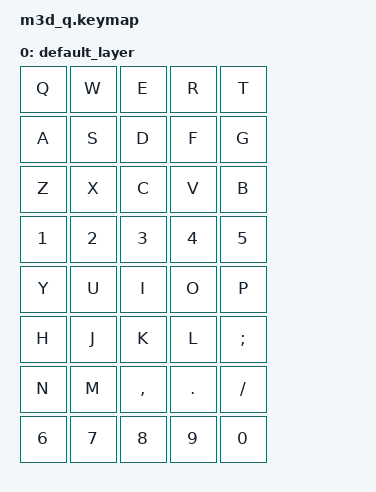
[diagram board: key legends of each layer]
#include <dt-bindings/zmk/keys.h>
#include <behaviors.dtsi>

/ {
    keymap {
        compatible = "zmk,keymap";

        default_layer {
            bindings = <
                &kp Q &kp W &kp E &kp R &kp T
                &kp A &kp S &kp D &kp F &kp G
                &kp Z &kp X &kp C &kp V &kp B
                &kp N1 &kp N2 &kp N3 &kp N4 &kp N5
                &kp Y &kp U &kp I &kp O &kp P
                &kp H &kp J &kp K &kp L &kp SEMI
                &kp N &kp M &kp COMMA &kp DOT &kp SLASH
                &kp N6 &kp N7 &kp N8 &kp N9 &kp N0
            >;
        };
    };
};
